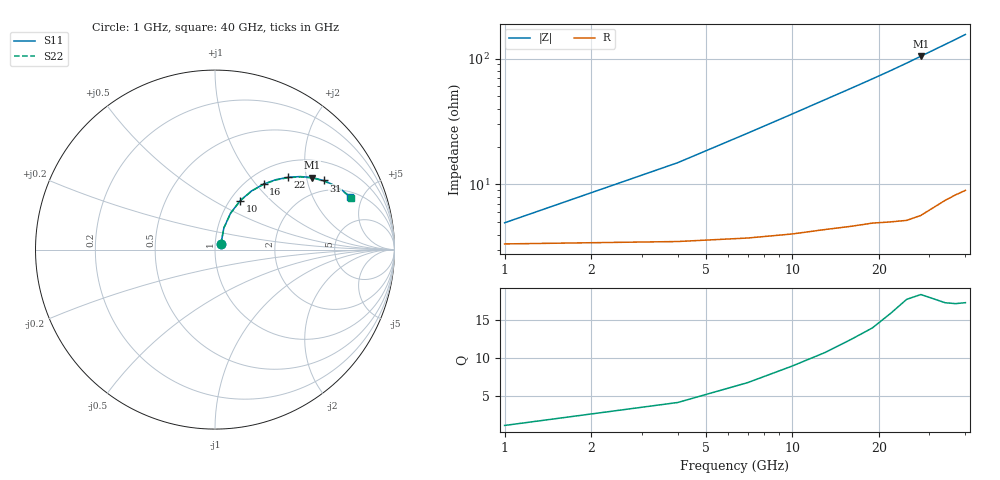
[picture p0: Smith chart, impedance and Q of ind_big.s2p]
! Generated by circuitRF - EM: Full-wave planar
! circuitRF-EM setup: ind_big
! circuitRF-EM layout: IND_BIG/layout/IND_BIG.clay
! circuitRF-EM written: 2026-11-14 18:35:19Z
! circuitRF-EM stamp: 20261114T183519Z-d276c089
! circuitRF-EM geometry: 96e409494b58ace0
! circuitRF-EM mesh: 099879cdb6ab51d1
! circuitRF-EM ports: 06188a71bc6045d0
! circuitRF-EM model: grounded-edge-port-2026-10-14
! Port[1] = 1
! Port[2] = 2
! circuitRF-EM port 1: '1' on 'TopMetal1' at (-4.75, -1 um), edge, uncalibrated (not de-embedded), 50 Ohm
! circuitRF-EM port 2: '2' on 'TopMetal1' at (4.75, -1 um), edge, uncalibrated (not de-embedded), 50 Ohm
! circuitRF-EM: port N of this file is the label named on the 'port N' line above. A circuit that composes this result binds its nets in that order; two ports of a reciprocal part swapped gives a plausible curve of a different structure.
! circuitRF-EM caveat: 3 of these rows are NOT A PASSIVE NETWORK and should not be used: 34 GHz to 40 GHz, worst sigma_max(S) = 1.0093. A passive structure cannot exceed 1, so the excess is this analysis rather than the design. The de-embedding reports no error floor on this sweep, so it is not the 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
! circuitRF-EM: re-running the EM setup rewrites this file. If circuitRF reports it as stale, the layout's cross-section changed after this file was written.
# GHz S RI R 50
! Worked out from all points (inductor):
!   14 points, 1 GHz to 40 GHz, reference 50 ohm
!   read as one part in series: L = 574 pH near 4 GHz
!   highest Q = 17.8 at 28 GHz (marker M1), where L = 592 pH
!   S11 on the Smith chart (normalised r, x): 1 GHz: 1.07, +0.06; 10 GHz: 1.11, +0.67; 16 GHz: 1.19, +1.10; 22 GHz: 1.31, +1.57; 31 GHz: 1.60, +2.53; 40 GHz: 2.34, +3.99
1  0.0325 0.0297  0.9649 -0.0382  0.9649 -0.0382  0.0325 0.0298
4  0.0494 0.1211  0.9441 -0.1439  0.9441 -0.1439  0.0496 0.1212
7  0.0871 0.2033  0.9054 -0.2409  0.9054 -0.2409  0.0875 0.2034
10  0.1398 0.2723  0.8515 -0.3253  0.8515 -0.3253  0.1406 0.2723
13  0.2029 0.3264  0.7868 -0.395  0.7868 -0.395  0.2041 0.3262
16  0.2704 0.3651  0.7169 -0.4493  0.7169 -0.4493  0.272 0.3646
19  0.3399 0.3898  0.6436 -0.489  0.6436 -0.489  0.3419 0.3887
22  0.4083 0.403  0.5702 -0.5155  0.5702 -0.5155  0.4106 0.4014
25  0.475 0.407  0.5 -0.5282  0.5 -0.5282  0.4774 0.4048
28  0.5412 0.4017  0.4372 -0.5311  0.4372 -0.5311  0.5438 0.399
31  0.6048 0.3851  0.3805 -0.5297  0.3805 -0.5297  0.6078 0.3818
34  0.6614 0.3596  0.3274 -0.5248  0.3274 -0.5248  0.665 0.3555
37  0.7106 0.3288  0.2776 -0.5155  0.2776 -0.5155  0.7145 0.3237
40  0.7533 0.2946  0.2318 -0.5021  0.2318 -0.5021  0.7574 0.2884
